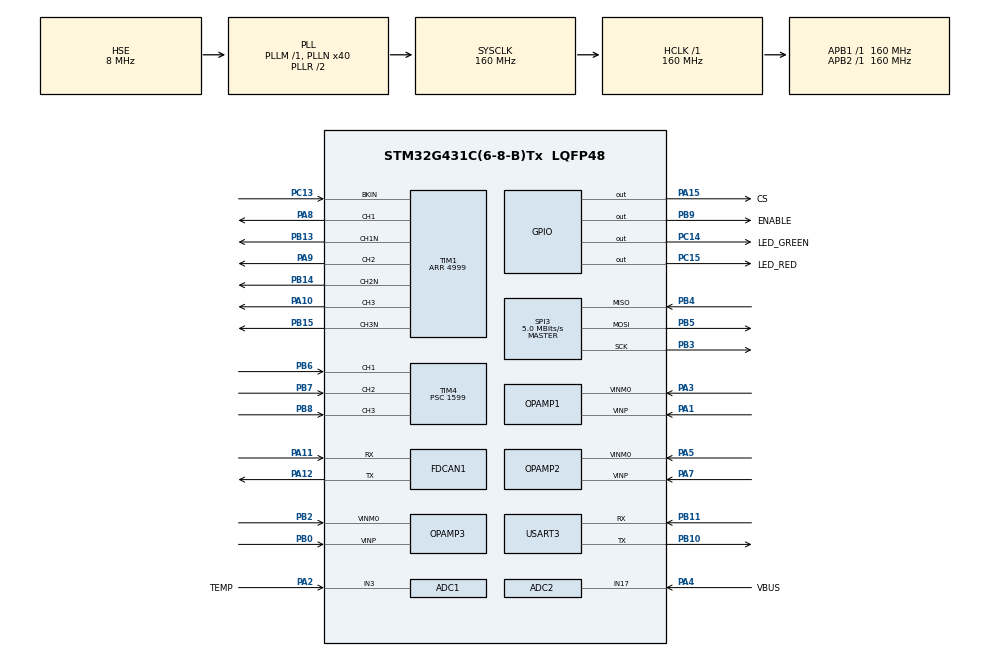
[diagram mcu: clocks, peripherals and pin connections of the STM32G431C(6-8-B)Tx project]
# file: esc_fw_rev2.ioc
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ADC1.Channel-0\#ChannelRegularConversion=ADC_CHANNEL_3
ADC1.DMAContinuousRequests=ENABLE
ADC1.EnableInjectedConversion=ENABLE
ADC1.ExternalTrigConv=ADC_SOFTWARE_START
ADC1.ExternalTrigInjecConv=ADC_EXTERNALTRIGINJEC_T1_TRGO
ADC1.InjNumberOfConversion=1
ADC1.InjectedChannel-1\#ChannelInjectedConversion=ADC_CHANNEL_VOPAMP1
ADC1.InjectedOffsetNumber-1\#ChannelInjectedConversion=ADC_OFFSET_NONE
ADC1.InjectedRank-1\#ChannelInjectedConversion=1
ADC1.InjectedSamplingTime-1\#ChannelInjectedConversion=ADC_SAMPLETIME_47CYCLES_5
ADC1.NbrOfConversion=1
ADC1.NbrOfConversionFlag=1
ADC1.OffsetNumber-0\#ChannelRegularConversion=ADC_OFFSET_NONE
ADC1.Overrun=ADC_OVR_DATA_OVERWRITTEN
ADC1.Rank-0\#ChannelRegularConversion=1
ADC1.Rank1_Channel=ADC_CHANNEL_VOPAMP1
ADC1.Rank2_Channel=ADC_CHANNEL_3
ADC1.SamplingTime-0\#ChannelRegularConversion=ADC_SAMPLETIME_47CYCLES_5
ADC1.master=1
ADC2.Channel-0\#ChannelRegularConversion=ADC_CHANNEL_17
ADC2.DMAContinuousRequests=ENABLE
ADC2.EOCSelection=ADC_EOC_SEQ_CONV
ADC2.EnableInjectedConversion=ENABLE
ADC2.ExternalTrigConv=ADC_SOFTWARE_START
ADC2.ExternalTrigInjecConv=ADC_EXTERNALTRIGINJEC_T1_TRGO
ADC2.InjNumberOfConversion=2
ADC2.InjectedChannel-2\#ChannelInjectedConversion=ADC_CHANNEL_VOPAMP2
ADC2.InjectedChannel-3\#ChannelInjectedConversion=ADC_CHANNEL_VOPAMP3_ADC2
ADC2.InjectedOffsetNumber-2\#ChannelInjectedConversion=ADC_OFFSET_NONE
ADC2.InjectedOffsetNumber-3\#ChannelInjectedConversion=ADC_OFFSET_NONE
ADC2.InjectedRank-2\#ChannelInjectedConversion=1
ADC2.InjectedRank-3\#ChannelInjectedConversion=2
ADC2.InjectedSamplingTime-2\#ChannelInjectedConversion=ADC_SAMPLETIME_47CYCLES_5
ADC2.InjectedSamplingTime-3\#ChannelInjectedConversion=ADC_SAMPLETIME_47CYCLES_5
ADC2.NbrOfConversion=1
ADC2.NbrOfConversionFlag=1
ADC2.OffsetNumber-0\#ChannelRegularConversion=ADC_OFFSET_NONE
ADC2.Overrun=ADC_OVR_DATA_PRESERVED
ADC2.Rank-0\#ChannelRegularConversion=1
ADC2.Rank1_Channel=ADC_CHANNEL_VOPAMP2
ADC2.Rank2_Channel=ADC_CHANNEL_VOPAMP3_ADC2
ADC2.SamplingTime-0\#ChannelRegularConversion=ADC_SAMPLETIME_47CYCLES_5
Dma.ADC1.2.Direction=DMA_PERIPH_TO_MEMORY
Dma.ADC1.2.EventEnable=DISABLE
Dma.ADC1.2.Instance=DMA1_Channel3
Dma.ADC1.2.MemDataAlignment=DMA_MDATAALIGN_HALFWORD
Dma.ADC1.2.MemInc=DMA_MINC_ENABLE
Dma.ADC1.2.Mode=DMA_CIRCULAR
Dma.ADC1.2.PeriphDataAlignment=DMA_PDATAALIGN_HALFWORD
Dma.ADC1.2.PeriphInc=DMA_PINC_DISABLE
Dma.ADC1.2.Polarity=HAL_DMAMUX_REQ_GEN_RISING
Dma.ADC1.2.Priority=DMA_PRIORITY_LOW
Dma.ADC1.2.RequestNumber=1
Dma.ADC1.2.SignalID=NONE
Dma.ADC1.2.SyncEnable=DISABLE
Dma.ADC1.2.SyncPolarity=HAL_DMAMUX_SYNC_NO_EVENT
Dma.ADC1.2.SyncRequestNumber=1
Dma.ADC1.2.SyncSignalID=NONE
Dma.ADC2.3.Direction=DMA_PERIPH_TO_MEMORY
Dma.ADC2.3.EventEnable=DISABLE
Dma.ADC2.3.Instance=DMA1_Channel4
Dma.ADC2.3.MemDataAlignment=DMA_MDATAALIGN_HALFWORD
Dma.ADC2.3.MemInc=DMA_MINC_ENABLE
Dma.ADC2.3.Mode=DMA_CIRCULAR
Dma.ADC2.3.PeriphDataAlignment=DMA_PDATAALIGN_HALFWORD
Dma.ADC2.3.PeriphInc=DMA_PINC_DISABLE
Dma.ADC2.3.Polarity=HAL_DMAMUX_REQ_GEN_RISING
Dma.ADC2.3.Priority=DMA_PRIORITY_LOW
Dma.ADC2.3.RequestNumber=1
Dma.ADC2.3.SignalID=NONE
Dma.ADC2.3.SyncEnable=DISABLE
Dma.ADC2.3.SyncPolarity=HAL_DMAMUX_SYNC_NO_EVENT
Dma.ADC2.3.SyncRequestNumber=1
Dma.ADC2.3.SyncSignalID=NONE
Dma.Request0=USART3_RX
Dma.Request1=USART3_TX
Dma.Request2=ADC1
Dma.Request3=ADC2
Dma.USART3_RX.0.Direction=DMA_PERIPH_TO_MEMORY
Dma.USART3_RX.0.EventEnable=DISABLE
Dma.USART3_RX.0.Instance=DMA1_Channel1
Dma.USART3_RX.0.MemDataAlignment=DMA_MDATAALIGN_BYTE
Dma.USART3_RX.0.MemInc=DMA_MINC_ENABLE
Dma.USART3_RX.0.Mode=DMA_NORMAL
Dma.USART3_RX.0.PeriphDataAlignment=DMA_PDATAALIGN_BYTE
Dma.USART3_RX.0.PeriphInc=DMA_PINC_DISABLE
Dma.USART3_RX.0.Polarity=HAL_DMAMUX_REQ_GEN_RISING
Dma.USART3_RX.0.Priority=DMA_PRIORITY_LOW
Dma.USART3_RX.0.RequestNumber=1
Dma.USART3_RX.0.SignalID=NONE
Dma.USART3_RX.0.SyncEnable=DISABLE
Dma.USART3_RX.0.SyncPolarity=HAL_DMAMUX_SYNC_NO_EVENT
Dma.USART3_RX.0.SyncRequestNumber=1
Dma.USART3_RX.0.SyncSignalID=NONE
Dma.USART3_TX.1.Direction=DMA_MEMORY_TO_PERIPH
Dma.USART3_TX.1.EventEnable=DISABLE
Dma.USART3_TX.1.Instance=DMA1_Channel2
Dma.USART3_TX.1.MemDataAlignment=DMA_MDATAALIGN_BYTE
Dma.USART3_TX.1.MemInc=DMA_MINC_ENABLE
Dma.USART3_TX.1.Mode=DMA_NORMAL
Dma.USART3_TX.1.PeriphDataAlignment=DMA_PDATAALIGN_BYTE
Dma.USART3_TX.1.PeriphInc=DMA_PINC_DISABLE
Dma.USART3_TX.1.Polarity=HAL_DMAMUX_REQ_GEN_RISING
Dma.USART3_TX.1.Priority=DMA_PRIORITY_LOW
Dma.USART3_TX.1.RequestNumber=1
Dma.USART3_TX.1.SignalID=NONE
Dma.USART3_TX.1.SyncEnable=DISABLE
Dma.USART3_TX.1.SyncPolarity=HAL_DMAMUX_SYNC_NO_EVENT
Dma.USART3_TX.1.SyncRequestNumber=1
Dma.USART3_TX.1.SyncSignalID=NONE
FDCAN1.CalculateBaudRateNominal=500000
FDCAN1.CalculateTimeBitNominal=2000
FDCAN1.CalculateTimeQuantumNominal=6.25
FDCAN1.Mode=FDCAN_MODE_EXTERNAL_LOOPBACK
FDCAN1.NominalPrescaler=1
FDCAN1.NominalSyncJumpWidth=2
FDCAN1.NominalTimeSeg1=191
FDCAN1.NominalTimeSeg2=128
FREERTOS.Tasks01=MotorCtrlTask,48,128,StartMotorCtrlTask,Default,NULL,Static,MotorCtrlTaskBuffer,MotorCtrlTaskControlBlock;CommTask,8,128,StartCommTask,Default,NULL,Static,CommTaskBuffer,CommTaskControlBlock
FREERTOS.configENABLE_FPU=1
Mcu.Family=STM32G4
Mcu.Name=STM32G431C(6-8-B)Tx
Mcu.Package=LQFP48
NVIC.DMA1_Channel1_IRQn=true\:5\:0\:false\:false\:true\:true\:false\:true\:true
NVIC.DMA1_Channel2_IRQn=true\:5\:0\:false\:false\:true\:true\:false\:true\:true
NVIC.DMA1_Channel3_IRQn=true\:5\:0\:false\:false\:true\:true\:false\:true\:true
NVIC.DMA1_Channel4_IRQn=true\:5\:0\:false\:false\:true\:true\:false\:true\:true
NVIC.FDCAN1_IT0_IRQn=true\:5\:0\:false\:false\:true\:true\:true\:true\:true
NVIC.PriorityGroup=NVIC_PRIORITYGROUP_4
NVIC.TIM1_BRK_TIM15_IRQn=true\:5\:0\:false\:false\:true\:true\:true\:true\:true
NVIC.TIM1_CC_IRQn=true\:5\:0\:false\:false\:true\:true\:true\:true\:true
NVIC.TIM4_IRQn=true\:5\:0\:false\:false\:true\:true\:true\:true\:true
NVIC.TIM6_DAC_IRQn=true\:5\:0\:false\:false\:true\:true\:true\:true\:true
NVIC.USART3_IRQn=true\:5\:0\:false\:false\:true\:true\:true\:true\:true
OPAMP1.PgaGain=OPAMP_PGA_GAIN_8_OR_MINUS_7
OPAMP2.PgaGain=OPAMP_PGA_GAIN_8_OR_MINUS_7
OPAMP3.PgaGain=OPAMP_PGA_GAIN_8_OR_MINUS_7
PA1.Mode=PGA Internally connected_IO0_BIAS
PA1.Signal=OPAMP1_VINP
PA10.Signal=S_TIM1_CH3
PA11.Mode=FDCAN_Activate
PA11.Signal=FDCAN1_RX
PA12.GPIO_Speed=GPIO_SPEED_FREQ_VERY_HIGH
PA12.Mode=FDCAN_Activate
PA12.Signal=FDCAN1_TX
PA13.Mode=Serial_Wire
PA13.Signal=SYS_JTMS-SWDIO
PA14.Mode=Serial_Wire
PA14.Signal=SYS_JTCK-SWCLK
PA15.GPIO_Label=CS
PA15.Signal=GPIO_Output
PA2.GPIO_Label=TEMP
PA2.Mode=IN3-Single-Ended
PA2.Signal=ADC1_IN3
PA3.Mode=PGA Internally connected_IO0_BIAS
PA3.Signal=OPAMP1_VINM0
PA4.GPIO_Label=VBUS
PA4.Mode=IN17-Single-Ended
PA4.Signal=ADC2_IN17
PA5.Mode=PGA Internally connected_IO0_BIAS
PA5.Signal=OPAMP2_VINM0
PA7.Mode=PGA Internally connected_IO0_BIAS
PA7.Signal=OPAMP2_VINP
PA8.Signal=S_TIM1_CH1
PA9.Signal=S_TIM1_CH2
PB0.Mode=PGA Internally connected_IO0_BIAS
PB0.Signal=OPAMP3_VINP
PB10.GPIO_Speed=GPIO_SPEED_FREQ_VERY_HIGH
PB10.Mode=Asynchronous
PB10.Signal=USART3_TX
PB11.Mode=Asynchronous
PB11.Signal=USART3_RX
PB13.Mode=PWM Generation1 CH1 CH1N
PB13.Signal=TIM1_CH1N
PB14.Mode=PWM Generation2 CH2 CH2N
PB14.Signal=TIM1_CH2N
PB15.Mode=PWM Generation3 CH3 CH3N
PB15.Signal=TIM1_CH3N
PB2.Mode=PGA Internally connected_IO0_BIAS
PB2.Signal=OPAMP3_VINM0
PB3.GPIO_Speed=GPIO_SPEED_FREQ_VERY_HIGH
PB3.Mode=Full_Duplex_Master
PB3.Signal=SPI3_SCK
PB4.GPIO_Speed=GPIO_SPEED_FREQ_VERY_HIGH
PB4.Mode=Full_Duplex_Master
PB4.Signal=SPI3_MISO
PB5.GPIO_Speed=GPIO_SPEED_FREQ_VERY_HIGH
PB5.Mode=Full_Duplex_Master
PB5.Signal=SPI3_MOSI
PB6.Signal=S_TIM4_CH1
PB7.Signal=S_TIM4_CH2
PB8-BOOT0.Signal=S_TIM4_CH3
PB9.GPIO_Label=ENABLE
PB9.Signal=GPIO_Output
PC13.Mode=Activate-Break-Input
PC13.Signal=TIM1_BKIN
PC14-OSC32_IN.GPIO_Label=LED_GREEN
PC14-OSC32_IN.Signal=GPIO_Output
PC15-OSC32_OUT.GPIO_Label=LED_RED
PC15-OSC32_OUT.Signal=GPIO_Output
PF0-OSC_IN.Mode=HSE-External-Oscillator
PF0-OSC_IN.Signal=RCC_OSC_IN
PF1-OSC_OUT.Mode=HSE-External-Oscillator
PF1-OSC_OUT.Signal=RCC_OSC_OUT
ProjectManager.HeapSize=0x200
ProjectManager.StackSize=0x400
ProjectManager.TargetToolchain=CMake
RCC.ADC12Freq_Value=160000000
RCC.AHBFreq_Value=160000000
RCC.APB1Freq_Value=160000000
RCC.APB1TimFreq_Value=160000000
RCC.APB2Freq_Value=160000000
RCC.APB2TimFreq_Value=160000000
RCC.CortexFreq_Value=160000000
RCC.EXTERNAL_CLOCK_VALUE=12288000
RCC.HCLKFreq_Value=160000000
RCC.HSE_VALUE=8000000
RCC.HSI48_VALUE=48000000
RCC.HSI_VALUE=16000000
RCC.LSE_VALUE=32768
RCC.PLLN=40
RCC.PLLSourceVirtual=RCC_PLLSOURCE_HSE
RCC.SYSCLKFreq_VALUE=160000000
RCC.SYSCLKSource=RCC_SYSCLKSOURCE_PLLCLK
RCC.USBFreq_Value=160000000
RCC.VCOOutputFreq_Value=320000000
SH.S_TIM1_CH1.0=TIM1_CH1,PWM Generation1 CH1 CH1N
SH.S_TIM1_CH2.0=TIM1_CH2,PWM Generation2 CH2 CH2N
SH.S_TIM1_CH3.0=TIM1_CH3,PWM Generation3 CH3 CH3N
SH.S_TIM4_CH1.0=TIM4_CH1,Xored_Inputs_Hall_Sensor_Interface
SH.S_TIM4_CH2.0=TIM4_CH2,Xored_Inputs_Hall_Sensor_Interface
SH.S_TIM4_CH3.0=TIM4_CH3,Xored_Inputs_Hall_Sensor_Interface
SPI3.BaudRatePrescaler=SPI_BAUDRATEPRESCALER_32
SPI3.CLKPhase=SPI_PHASE_2EDGE
SPI3.CalculateBaudRate=5.0 MBits/s
SPI3.DataSize=SPI_DATASIZE_16BIT
SPI3.Direction=SPI_DIRECTION_2LINES
SPI3.Mode=SPI_MODE_MASTER
SPI3.VirtualType=VM_MASTER
TIM1.BreakFilter=15
TIM1.BreakPolarity=TIM_BREAKPOLARITY_LOW
TIM1.Channel-PWM\ Generation1\ CH1\ CH1N=TIM_CHANNEL_1
TIM1.Channel-PWM\ Generation2\ CH2\ CH2N=TIM_CHANNEL_2
TIM1.Channel-PWM\ Generation3\ CH3\ CH3N=TIM_CHANNEL_3
TIM1.Channel-PWM\ Generation4\ No\ Output=TIM_CHANNEL_4
TIM1.CounterMode=TIM_COUNTERMODE_CENTERALIGNED1
TIM1.DeadTime=100
TIM1.PeriodNoDither=4999
TIM1.PulseNoDither_4=1
TIM1.TIM_MasterOutputTrigger=TIM_TRGO_OC4REF
TIM4.IC1Filter=15
TIM4.Prescaler=1599
TIM6.PeriodNoDither=9999
TIM6.Prescaler=15999
USART3.VirtualMode-Asynchronous=VM_ASYNC
VP_ADC1_OPAMP_INTERNAL1.Mode=IN-OPAMP1
VP_ADC2_OPAMP_INTERNAL2.Mode=IN-OPAMP2
VP_ADC2_OPAMP_INTERNAL3.Mode=IN-OPAMP3
VP_FREERTOS_VS_CMSIS_V2.Mode=CMSIS_V2
VP_SYS_VS_DBSignals.Mode=DisableDeadBatterySignals
VP_SYS_V_VREFBUF.Mode=ExternalMode
VP_TIM1_VS_no_output4.Mode=PWM Generation4 No Output
VP_TIM6_VS_ClockSourceINT.Mode=Enable_Timer
board=custom

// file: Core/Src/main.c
/* USER CODE BEGIN Header */
/**
  ******************************************************************************
  * @file           : main.c
  * @brief          : Main program body
  ******************************************************************************
  * @attention
  *
  * Copyright (c) 2026 STMicroelectronics.
  * All rights reserved.
  *
  * This software is licensed under terms that can be found in the LICENSE file
  * in the root directory of this software component.
  * If no LICENSE file comes with this software, it is provided AS-IS.
  *
  ******************************************************************************
  */
/* USER CODE END Header */
#include "main.h"
#include "cmsis_os.h"
#include "adc.h"
#include "dma.h"
#include "fdcan.h"
#include "opamp.h"
#include "spi.h"
#include "stm32g4xx_hal_tim.h"
#include "tim.h"
#include "usart.h"
#include "gpio.h"

/* USER CODE BEGIN Includes */
#include <math.h>
#include "DRV8320S.h"
#include "MotorControl.h"
#include "MotorConfig.h"
#include <stdio.h>
#include "UartComm.h"
#include "PI_regulator.h"
/* USER CODE END Includes */

void SystemClock_Config(void);
void MX_FREERTOS_Init(void);

/* USER CODE BEGIN 0 */
float moving_average_speed_sum=0;
uint16_t mov_average_count=0;
float mov_average_val=0;
void HAL_UARTEx_RxEventCallback(UART_HandleTypeDef *huart, uint16_t Size){
  UartCommCallback(Size);
}

void HAL_TIM_PeriodElapsedCallback(TIM_HandleTypeDef *htim){
  if(htim->Instance == TIM6){
    if(mov_average_count){
      MotorControlParameters.RPM_measured=moving_average_speed_sum/mov_average_count;
      mov_average_val=MotorControlParameters.RPM_measured;
    }
    mov_average_count=0;
    moving_average_speed_sum=0;
    SpeedReg.output=PI_regulator(&SpeedReg,MotorControlParameters.RPM_reference);
  }
}

void HAL_TIM_IC_CaptureCallback(TIM_HandleTypeDef *htim) {
  if(htim->Instance == TIM4){
    if(TIM4->CCR1){
      MotorCalculateRotationSpeed(TIM4->CCR1);
      MotorGetActualHallState();
      MotorCalculateNewHallState();
      moving_average_speed_sum+=MotorControlParameters.RPM_measured;
      mov_average_count++;
    }
  }
}
uint16_t output;
float foutput;
void HAL_TIM_OC_DelayElapsedCallback(TIM_HandleTypeDef *htim) {
  if(htim->Instance == TIM1) {
    switch(MotorControlParameters.actualMotorState){
      case MOTOR_CALIBRATION:
        MotorControlCurrentSenseCalibrationCallback();
        break;
      case MOTOR_ACTIVE:
        foutput=PI_regulator(&CurrentReg,SpeedReg.output);
        foutput=fabs(foutput);
        if(foutput>1)
          foutput=1;
        output=(foutput)*9999;//abs
        if(output>9999)
          output=9999;
        //MotorUpdateTimePulse(output);
        CallbackUpdateTimerPulse();
        MotorEstimateDcCurrentFromPhaseShunt();
        MotorGetActualHallState();
        MotorCalculateNewHallState();
        //MotorGetNextStep();
        MotorLoadNewStep();
        break;
    }
  }
}
FDCAN_RxHeaderTypeDef RxHeader;
uint8_t RxData[8];
void HAL_FDCAN_RxFifo0Callback(FDCAN_HandleTypeDef *hfdcan, uint32_t RxFifo0ITs){
	if((RxFifo0ITs&FDCAN_IT_RX_FIFO0_NEW_MESSAGE)!=RESET){

		HAL_FDCAN_GetRxMessage(hfdcan,FDCAN_RX_FIFO0,&RxHeader,RxData);

		HAL_FDCAN_ActivateNotification(hfdcan,FDCAN_IT_RX_FIFO0_NEW_MESSAGE,0);
	}
}
extern volatile uint8_t CurrentCalibrationState;
/* USER CODE END 0 */

int main(void)
{

  /* MCU Configuration--------------------------------------------------------*/

  /* Reset of all peripherals, Initializes the Flash interface and the Systick. */
  HAL_Init();

  /* Configure the system clock */
  SystemClock_Config();

  /* Initialize all configured peripherals */
  MX_GPIO_Init();
  MX_DMA_Init();
  MX_ADC2_Init();
  MX_FDCAN1_Init();
  MX_TIM1_Init();
  MX_TIM4_Init();
  MX_ADC1_Init();
  MX_OPAMP1_Init();
  MX_OPAMP2_Init();
  MX_TIM6_Init();
  MX_SPI3_Init();
  MX_USART3_UART_Init();
  MX_OPAMP3_Init();
  /* USER CODE BEGIN 2 */

  UartCommInit();

  MotorControlInit();
  //enable only after current calibration
  DRV8320_SetEnable();
  /* for initialization only */
  HAL_Delay(10);
  DRV8320S_Init();

  //get starting point hall state to not create 3 phase short circuit
  MotorGetActualHallState();
  MotorCalculateNewHallState();
  MotorLoadNewStep();
  PI_regulators_Init(&MotorControlParameters.RPM_measured,&MotorControlParameters.Current_Measured);

  HAL_FDCAN_Start(&hfdcan1);
  HAL_FDCAN_ActivateNotification(&hfdcan1,FDCAN_IT_RX_FIFO0_NEW_MESSAGE,0);
  /* USER CODE END 2 */

  /* Init scheduler */
  osKernelInitialize();

  /* Call init function for freertos objects (in cmsis_os2.c) */
  MX_FREERTOS_Init();

  /* Start scheduler */
  osKernelStart();

  /* We should never get here as control is now taken by the scheduler */

  /* Infinite loop */
  while (1)
  {

  }
}

void SystemClock_Config(void)
{
  RCC_OscInitTypeDef RCC_OscInitStruct = {0};
  RCC_ClkInitTypeDef RCC_ClkInitStruct = {0};

  /** Configure the main internal regulator output voltage
  */
  HAL_PWREx_ControlVoltageScaling(PWR_REGULATOR_VOLTAGE_SCALE1_BOOST);

  /** Initializes the RCC Oscillators according to the specified parameters
  * in the RCC_OscInitTypeDef structure.
  */
  RCC_OscInitStruct.OscillatorType = RCC_OSCILLATORTYPE_HSE;
  RCC_OscInitStruct.HSEState = RCC_HSE_ON;
  RCC_OscInitStruct.PLL.PLLState = RCC_PLL_ON;
  RCC_OscInitStruct.PLL.PLLSource = RCC_PLLSOURCE_HSE;
  RCC_OscInitStruct.PLL.PLLM = RCC_PLLM_DIV1;
  RCC_OscInitStruct.PLL.PLLN = 40;
  RCC_OscInitStruct.PLL.PLLP = RCC_PLLP_DIV2;
  RCC_OscInitStruct.PLL.PLLQ = RCC_PLLQ_DIV2;
  RCC_OscInitStruct.PLL.PLLR = RCC_PLLR_DIV2;
  if (HAL_RCC_OscConfig(&RCC_OscInitStruct) != HAL_OK)
  {
    Error_Handler();
  }

  /** Initializes the CPU, AHB and APB buses clocks
  */
  RCC_ClkInitStruct.ClockType = RCC_CLOCKTYPE_HCLK|RCC_CLOCKTYPE_SYSCLK
                              |RCC_CLOCKTYPE_PCLK1|RCC_CLOCKTYPE_PCLK2;
  RCC_ClkInitStruct.SYSCLKSource = RCC_SYSCLKSOURCE_PLLCLK;
  RCC_ClkInitStruct.AHBCLKDivider = RCC_SYSCLK_DIV1;
  RCC_ClkInitStruct.APB1CLKDivider = RCC_HCLK_DIV1;
  RCC_ClkInitStruct.APB2CLKDivider = RCC_HCLK_DIV1;

  if (HAL_RCC_ClockConfig(&RCC_ClkInitStruct, FLASH_LATENCY_4) != HAL_OK)
  {
    Error_Handler();
  }
}

void Error_Handler(void)
{
  __disable_irq();
  while (1)
  {
  }
}

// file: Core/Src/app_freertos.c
/* USER CODE BEGIN Header */
/**
  ******************************************************************************
  * File Name          : app_freertos.c
  * Description        : Code for freertos applications
  ******************************************************************************
  * @attention
  *
  * Copyright (c) 2026 STMicroelectronics.
  * All rights reserved.
  *
  * This software is licensed under terms that can be found in the LICENSE file
  * in the root directory of this software component.
  * If no LICENSE file comes with this software, it is provided AS-IS.
  *
  ******************************************************************************
  */
/* USER CODE END Header */

#include "FreeRTOS.h"
#include "task.h"
#include "main.h"
#include "cmsis_os.h"

/* USER CODE BEGIN Includes */
#include "MotorControl.h"
#include "UartComm.h"
#include "adc.h"
#include "diagnostics.h"
#include "can_comm.h"
/* USER CODE END Includes */

typedef StaticTask_t osStaticThreadDef_t;

/* Definitions for MotorCtrlTask */
osThreadId_t MotorCtrlTaskHandle;
uint32_t MotorCtrlTaskBuffer[ 128 ];
osStaticThreadDef_t MotorCtrlTaskControlBlock;
const osThreadAttr_t MotorCtrlTask_attributes = {
  .name = "MotorCtrlTask",
  .stack_mem = &MotorCtrlTaskBuffer[0],
  .stack_size = sizeof(MotorCtrlTaskBuffer),
  .cb_mem = &MotorCtrlTaskControlBlock,
  .cb_size = sizeof(MotorCtrlTaskControlBlock),
  .priority = (osPriority_t) osPriorityRealtime,
};
/* Definitions for CommTask */
osThreadId_t CommTaskHandle;
uint32_t CommTaskBuffer[ 128 ];
osStaticThreadDef_t CommTaskControlBlock;
const osThreadAttr_t CommTask_attributes = {
  .name = "CommTask",
  .stack_mem = &CommTaskBuffer[0],
  .stack_size = sizeof(CommTaskBuffer),
  .cb_mem = &CommTaskControlBlock,
  .cb_size = sizeof(CommTaskControlBlock),
  .priority = (osPriority_t) osPriorityLow,
};

void StartMotorCtrlTask(void *argument);
void StartCommTask(void *argument);

void MX_FREERTOS_Init(void); /* (MISRA C 2004 rule 8.1) */

void MX_FREERTOS_Init(void) {

  /* Create the thread(s) */
  /* creation of MotorCtrlTask */
  MotorCtrlTaskHandle = osThreadNew(StartMotorCtrlTask, NULL, &MotorCtrlTask_attributes);

  /* creation of CommTask */
  CommTaskHandle = osThreadNew(StartCommTask, NULL, &CommTask_attributes);

}

void StartMotorCtrlTask(void *argument)
{
  /* USER CODE BEGIN StartMotorCtrlTask */
  (void)argument;
  /* Infinite loop */
  for(;;)
  {
    MotorFSMService();
    osDelay(10);
  }
  /* USER CODE END StartMotorCtrlTask */
}

void StartCommTask(void *argument)
{
  /* USER CODE BEGIN StartCommTask */
  (void)argument;
  uint8_t green_led_counter;

  /* Infinite loop */
  for(;;)
  {
    UartCommService();
    VbusService();
    NTC_Service();
    CAN_PublishMessages();
    if(!CheckAlarms()){
      green_led_counter++;
      if(green_led_counter==20) {
        green_led_counter=0;
        HAL_GPIO_TogglePin(LED_GREEN_GPIO_Port, LED_GREEN_Pin);
      }

    }
    osDelay(50);
  }
  /* USER CODE END StartCommTask */
}
